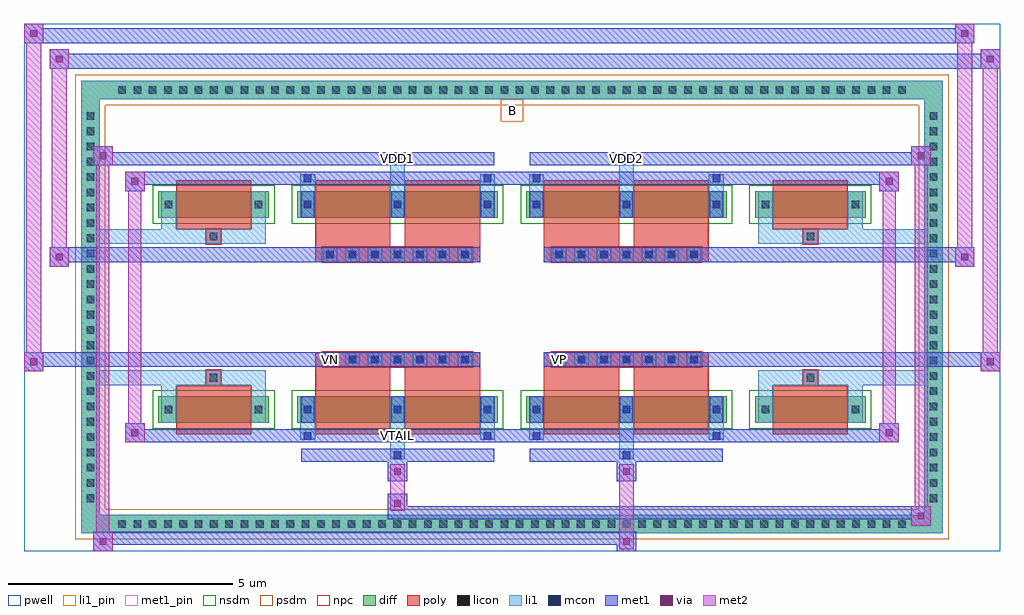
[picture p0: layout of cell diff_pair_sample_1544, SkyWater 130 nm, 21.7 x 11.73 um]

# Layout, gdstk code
import gdstk
lib = gdstk.Library(unit=1e-6, precision=5e-09)
def R(c, l, rs):  # rectangles x0, y0, x1, y1
    for r in rs: c.add(gdstk.rectangle(r[:2], r[2:], *l))
def A(c, l, x, y, w, h, nx, ny, dx, dy):  # array of equal rectangles
    R(c, l, [(x+i*dx, y+j*dy, x+i*dx+w, y+j*dy+h) for i in range(nx) for j in range(ny)])
def P(c, l, *ps):  # polygons
    for p in ps: c.add(gdstk.Polygon(p, *l))
pwell = (64, 44)
diff = (65, 20)
poly = (66, 20)
licon = (66, 44)
li1_pin = (67, 16)
li1 = (67, 20)
mcon = (67, 44)
met1_pin = (68, 16)
met1 = (68, 20)
via = (68, 44)
met2 = (69, 20)
nsdm = (93, 44)
psdm = (94, 20)
npc = (95, 20)

diff_pair_sample_1544 = lib.new_cell('diff_pair_sample_1544')
R(diff_pair_sample_1544, pwell, [(-10.85,-5.43,10.85,6.3), (-8.17,-3.62,-0.01,-0.8), (0.01,-3.62,8.17,-0.8), (-8.17,0.8,-0.01,3.62), (0.01,0.8,8.17,3.62)])
A(diff_pair_sample_1544, diff, -8.875, -5.03, 0.41, 0.41, 52, 2, 0.34, 9.65)
A(diff_pair_sample_1544, diff, -9.58, -4.455, 0.41, 0.41, 1, 26, 0, 0.34)
A(diff_pair_sample_1544, diff, 9.17, -4.455, 0.41, 0.41, 1, 26, 0, 0.34)
R(diff_pair_sample_1544, diff, [(-8.875,-5.03,8.875,-4.62), (-9.58,-4.455,-9.17,4.455), (9.17,-4.455,9.58,4.455), (-7.86,-2.575,-5.41,-1.985), (-4.77,-2.575,-0.32,-1.985), (0.32,-2.575,4.77,-1.985), (5.41,-2.575,7.86,-1.985), (-7.86,1.985,-5.41,2.575), (-4.77,1.985,-0.32,2.575), (0.32,1.985,4.77,2.575), (5.41,1.985,7.86,2.575), (-8.875,4.62,8.875,5.03)])
P(diff_pair_sample_1544, diff, [(9.58,5.03),(-9.58,5.03),(-9.58,-4.62),(-9.17,-4.62),(-9.17,4.62),(9.17,4.62),(9.17,-4.62),(-9.17,-4.62),(-9.58,-4.62),(-9.58,-5.03),(9.58,-5.03)])
A(diff_pair_sample_1544, poly, -4.21, -1.33, 0.33, 0.33, 7, 2, 0.5, 2.33)
A(diff_pair_sample_1544, poly, 0.88, -1.33, 0.33, 0.33, 7, 2, 0.5, 2.33)
R(diff_pair_sample_1544, poly, [(-7.47,-2.825,-5.8,-1.735), (-4.38,-2.825,-2.71,-1.735), (-2.38,-2.825,-0.71,-1.735), (0.71,-2.825,2.38,-1.735), (2.71,-2.825,4.38,-1.735), (5.8,-2.825,7.47,-1.735), (-6.8,-1.735,-6.47,-1.405), (-6.8,-1.735,-6.47,-1.405), (-4.38,-1.735,-2.71,-1.33), (-2.38,-1.735,-0.71,-1.33), (0.71,-1.735,2.38,-1.33), (2.71,-1.735,4.38,-1.33), (6.47,-1.735,6.8,-1.405), (6.47,-1.735,6.8,-1.405), (-4.38,-1.33,-0.71,-1), (0.71,-1.33,4.38,-1), (-4.38,1,-0.71,1.33), (0.71,1,4.38,1.33), (-4.38,1.33,-2.71,1.735), (-2.38,1.33,-0.71,1.735), (0.71,1.33,2.38,1.735), (2.71,1.33,4.38,1.735), (-6.8,1.405,-6.47,1.735), (-6.8,1.405,-6.47,1.735), (6.47,1.405,6.8,1.735), (6.47,1.405,6.8,1.735), (-7.47,1.735,-5.8,2.825), (-4.38,1.735,-2.71,2.825), (-2.38,1.735,-0.71,2.825), (0.71,1.735,2.38,2.825), (2.71,1.735,4.38,2.825), (5.8,1.735,7.47,2.825)])
A(diff_pair_sample_1544, licon, -8.755, -4.91, 0.17, 0.17, 52, 2, 0.34, 9.65)
A(diff_pair_sample_1544, licon, -9.46, -4.335, 0.17, 0.17, 1, 26, 0, 0.34)
A(diff_pair_sample_1544, licon, 9.29, -4.335, 0.17, 0.17, 1, 26, 0, 0.34)
A(diff_pair_sample_1544, licon, -4.63, -2.365, 0.17, 0.17, 3, 2, 2, 4.56)
A(diff_pair_sample_1544, licon, 0.46, -2.365, 0.17, 0.17, 3, 2, 2, 4.56)
A(diff_pair_sample_1544, licon, -4.13, -1.25, 0.17, 0.17, 7, 2, 0.5, 2.33)
A(diff_pair_sample_1544, licon, 0.96, -1.25, 0.17, 0.17, 7, 2, 0.5, 2.33)
R(diff_pair_sample_1544, licon, [(-7.72,-2.365,-7.55,-2.195), (-5.72,-2.365,-5.55,-2.195), (5.55,-2.365,5.72,-2.195), (7.55,-2.365,7.72,-2.195), (-6.72,-1.655,-6.55,-1.485), (6.55,-1.655,6.72,-1.485), (-6.72,1.485,-6.55,1.655), (6.55,1.485,6.72,1.655), (-7.72,2.195,-7.55,2.365), (-5.72,2.195,-5.55,2.365), (5.55,2.195,5.72,2.365), (7.55,2.195,7.72,2.365)])
R(diff_pair_sample_1544, li1_pin, [(-0.25,4.12,0.25,4.62)])
A(diff_pair_sample_1544, li1, -8.835, -4.99, 0.33, 0.33, 52, 2, 0.34, 9.65)
A(diff_pair_sample_1544, li1, -9.54, -4.415, 0.33, 0.33, 1, 26, 0, 0.34)
A(diff_pair_sample_1544, li1, 9.21, -4.415, 0.33, 0.33, 1, 26, 0, 0.34)
A(diff_pair_sample_1544, li1, -4.71, -2.575, 0.33, 0.59, 3, 2, 2, 4.56)
A(diff_pair_sample_1544, li1, 0.38, -2.575, 0.33, 0.59, 3, 2, 2, 4.56)
A(diff_pair_sample_1544, li1, -4.71, -2.445, 0.33, 0.33, 3, 2, 2, 4.56)
A(diff_pair_sample_1544, li1, 0.38, -2.445, 0.33, 0.33, 3, 2, 2, 4.56)
A(diff_pair_sample_1544, li1, -4.21, -1.33, 0.33, 0.33, 7, 2, 0.5, 2.33)
A(diff_pair_sample_1544, li1, 0.88, -1.33, 0.33, 0.33, 7, 2, 0.5, 2.33)
R(diff_pair_sample_1544, li1, [(-9.58,-5.03,-9.17,-4.62), (-9.58,-5.03,-9.17,-4.62), (-9.17,-5.03,9.17,-4.62), (9.17,-5.03,9.58,-4.62), (9.17,-5.03,9.58,-4.62), (-9.58,-4.62,-9.17,4.62), (9.17,-4.62,9.58,4.62), (-2.71,-3.38,-2.38,-2.575), (-2.63,-3.38,-2.46,-3.21), (2.38,-3.38,2.71,-2.575), (2.46,-3.38,2.63,-3.21), (-4.71,-2.95,-4.38,-2.575), (-4.63,-2.95,-4.46,-2.78), (-0.71,-2.95,-0.38,-2.575), (-0.63,-2.95,-0.46,-2.78), (0.38,-2.95,0.71,-2.575), (0.46,-2.95,0.63,-2.78), (4.38,-2.95,4.71,-2.575), (4.46,-2.95,4.63,-2.78), (-7.8,-2.575,-7.47,-1.985), (-5.8,-2.575,-5.47,-1.985), (5.47,-2.575,5.8,-1.985), (7.47,-2.575,7.8,-1.985), (-7.8,-2.445,-7.47,-2.115), (-5.8,-2.445,-5.47,-2.115), (5.47,-2.445,5.8,-2.115), (7.47,-2.445,7.8,-2.115), (-4.63,-2.365,-4.46,-2.195), (-4.63,-2.365,-4.46,-2.195), (-2.63,-2.365,-2.46,-2.195), (-2.63,-2.365,-2.46,-2.195), (-0.63,-2.365,-0.46,-2.195), (-0.63,-2.365,-0.46,-2.195), (0.46,-2.365,0.63,-2.195), (0.46,-2.365,0.63,-2.195), (2.46,-2.365,2.63,-2.195), (2.46,-2.365,2.63,-2.195), (4.46,-2.365,4.63,-2.195), (4.46,-2.365,4.63,-2.195), (-7.8,-1.985,-7.47,-1.405), (-5.8,-1.985,-5.47,-1.405), (5.47,-1.985,5.8,-1.405), (7.47,-1.985,7.8,-1.405), (-9.58,-1.735,-6.8,-1.405), (-7.8,-1.735,-6.8,-1.405), (-6.8,-1.735,-6.47,-1.405), (-6.47,-1.735,-5.47,-1.405), (5.47,-1.735,6.47,-1.405), (6.47,-1.735,6.8,-1.405), (6.47,-1.735,9.58,-1.405), (6.8,-1.735,7.8,-1.405), (-9.58,1.405,-6.8,1.735), (-7.8,1.405,-6.8,1.735), (-7.8,1.405,-7.47,1.985), (-6.8,1.405,-6.47,1.735), (-6.47,1.405,-5.47,1.735), (-5.8,1.405,-5.47,1.985), (5.47,1.405,6.47,1.735), (5.47,1.405,5.8,1.985), (6.47,1.405,6.8,1.735), (6.47,1.405,9.58,1.735), (6.8,1.405,7.8,1.735), (7.47,1.405,7.8,1.985), (-7.8,1.985,-7.47,2.575), (-5.8,1.985,-5.47,2.575), (5.47,1.985,5.8,2.575), (7.47,1.985,7.8,2.575), (-7.8,2.115,-7.47,2.445), (-5.8,2.115,-5.47,2.445), (5.47,2.115,5.8,2.445), (7.47,2.115,7.8,2.445), (-4.63,2.195,-4.46,2.365), (-4.63,2.195,-4.46,2.365), (-2.63,2.195,-2.46,2.365), (-2.63,2.195,-2.46,2.365), (-0.63,2.195,-0.46,2.365), (-0.63,2.195,-0.46,2.365), (0.46,2.195,0.63,2.365), (0.46,2.195,0.63,2.365), (2.46,2.195,2.63,2.365), (2.46,2.195,2.63,2.365), (4.46,2.195,4.63,2.365), (4.46,2.195,4.63,2.365), (-4.71,2.575,-4.38,2.95), (-2.71,2.575,-2.38,3.38), (-0.71,2.575,-0.38,2.95), (0.38,2.575,0.71,2.95), (2.38,2.575,2.71,3.38), (4.38,2.575,4.71,2.95), (-4.63,2.78,-4.46,2.95), (-0.63,2.78,-0.46,2.95), (0.46,2.78,0.63,2.95), (4.46,2.78,4.63,2.95), (-2.63,3.21,-2.46,3.38), (2.46,3.21,2.63,3.38), (-9.58,4.62,-9.17,5.03), (-9.58,4.62,-9.17,5.03), (-9.17,4.62,9.17,5.03), (9.17,4.62,9.58,5.03), (9.17,4.62,9.58,5.03)])
A(diff_pair_sample_1544, mcon, -4.63, -2.365, 0.17, 0.17, 3, 2, 2, 4.56)
A(diff_pair_sample_1544, mcon, 0.46, -2.365, 0.17, 0.17, 3, 2, 2, 4.56)
A(diff_pair_sample_1544, mcon, -4.13, -1.25, 0.17, 0.17, 7, 2, 0.5, 2.33)
A(diff_pair_sample_1544, mcon, 0.96, -1.25, 0.17, 0.17, 7, 2, 0.5, 2.33)
R(diff_pair_sample_1544, mcon, [(-2.63,-3.38,-2.46,-3.21), (2.46,-3.38,2.63,-3.21), (-4.63,-2.95,-4.46,-2.78), (-0.63,-2.95,-0.46,-2.78), (0.46,-2.95,0.63,-2.78), (4.46,-2.95,4.63,-2.78), (-4.63,2.78,-4.46,2.95), (-0.63,2.78,-0.46,2.95), (0.46,2.78,0.63,2.95), (4.46,2.78,4.63,2.95), (-2.63,3.21,-2.46,3.38), (2.46,3.21,2.63,3.38)])
R(diff_pair_sample_1544, met1_pin, [(-2.68,-2.99,-2.41,-2.72), (-4.18,-1.29,-3.91,-1.02), (0.91,-1.29,1.18,-1.02), (-2.68,3.17,-2.41,3.44), (2.41,3.17,2.68,3.44)])
A(diff_pair_sample_1544, met1, -4.69, -2.575, 0.29, 0.59, 3, 2, 2, 4.56)
A(diff_pair_sample_1544, met1, 0.4, -2.575, 0.29, 0.59, 3, 2, 2, 4.56)
A(diff_pair_sample_1544, met1, -4.69, -2.425, 0.29, 0.29, 3, 2, 2, 4.56)
A(diff_pair_sample_1544, met1, 0.4, -2.425, 0.29, 0.29, 3, 2, 2, 4.56)
A(diff_pair_sample_1544, met1, -4.19, -1.31, 0.29, 0.29, 7, 2, 0.5, 2.33)
A(diff_pair_sample_1544, met1, 0.9, -1.31, 0.29, 0.29, 7, 2, 0.5, 2.33)
R(diff_pair_sample_1544, met1, [(-9.31,-5.43,-8.88,-5), (2.33,-5.43,2.76,-5), (-9.31,-5.29,2.76,-5), (8.88,-4.86,9.31,-4.43), (-2.76,-4.72,9.31,-4.43), (-2.76,-4.58,-2.33,-4.15), (-2.76,-3.87,-2.33,-3.44), (2.33,-3.87,2.76,-3.44), (-4.69,-3.44,-0.4,-3.15), (-2.69,-3.44,-2.4,-3.15), (0.4,-3.44,4.69,-3.15), (2.4,-3.44,2.69,-3.15), (-8.6,-3.01,-8.17,-2.58), (-8.6,-3.01,-4.69,-2.72), (-4.69,-3.01,-4.4,-2.72), (-4.69,-3.01,-0.4,-2.72), (-0.69,-3.01,-0.4,-2.72), (-0.4,-3.01,0.4,-2.72), (0.4,-3.01,0.69,-2.72), (0.4,-3.01,4.69,-2.72), (4.4,-3.01,4.69,-2.72), (4.69,-3.01,8.6,-2.72), (8.17,-3.01,8.6,-2.58), (-10.85,-1.43,-10.42,-1), (10.42,-1.43,10.85,-1), (-10.85,-1.33,-0.71,-1), (-4.38,-1.33,-0.71,-1), (0.71,-1.33,4.38,-1), (0.71,-1.33,10.85,-1), (-10.28,0.9,-9.85,1.33), (9.85,0.9,10.28,1.33), (-10.28,1,-4.38,1.33), (-4.38,1,-0.71,1.33), (0.71,1,4.38,1.33), (4.38,1,10.28,1.33), (-8.6,2.58,-8.17,3.01), (8.17,2.58,8.6,3.01), (-8.6,2.72,-4.69,3.01), (-4.69,2.72,-4.4,3.01), (-4.69,2.72,-0.4,3.01), (-0.69,2.72,-0.4,3.01), (-0.4,2.72,0.4,3.01), (0.4,2.72,0.69,3.01), (0.4,2.72,4.69,3.01), (4.4,2.72,4.69,3.01), (4.69,2.72,8.6,3.01), (-9.31,3.15,-8.88,3.58), (-9.31,3.15,-4.69,3.44), (-4.69,3.15,-0.4,3.44), (-2.69,3.15,-2.4,3.44), (0.4,3.15,4.69,3.44), (2.4,3.15,2.69,3.44), (4.69,3.15,9.31,3.44), (8.88,3.15,9.31,3.58), (-10.28,5.3,-9.85,5.73), (-10.28,5.3,-8.17,5.63), (-8.17,5.3,8.17,5.63), (8.17,5.3,10.85,5.63), (10.42,5.3,10.85,5.73), (-10.85,5.87,-10.42,6.3), (-10.85,5.87,-8.17,6.2), (-8.17,5.87,8.17,6.2), (8.17,5.87,10.28,6.2), (9.85,5.87,10.28,6.3)])
R(diff_pair_sample_1544, via, [(-9.17,-5.29,-9.02,-5.14), (2.47,-5.29,2.62,-5.14), (9.02,-4.72,9.17,-4.57), (-2.62,-4.44,-2.47,-4.29), (-2.62,-3.73,-2.47,-3.58), (2.47,-3.73,2.62,-3.58), (-8.46,-2.87,-8.31,-2.72), (8.31,-2.87,8.46,-2.72), (-10.71,-1.29,-10.56,-1.14), (10.56,-1.29,10.71,-1.14), (-10.14,1.04,-9.99,1.19), (9.99,1.04,10.14,1.19), (-8.46,2.72,-8.31,2.87), (8.31,2.72,8.46,2.87), (-9.17,3.29,-9.02,3.44), (9.02,3.29,9.17,3.44), (-10.14,5.44,-9.99,5.59), (10.56,5.44,10.71,5.59), (-10.71,6.01,-10.56,6.16), (9.99,6.01,10.14,6.16)])
R(diff_pair_sample_1544, met2, [(-9.31,-5.43,-8.88,-5), (-9.24,-5.43,-8.95,3.58), (-8.95,-5.43,-8.88,-5), (-9.26,-5.38,-8.93,-5.05), (2.38,-5.38,2.71,-5.05), (2.38,-5.05,2.71,-3.82), (8.88,-4.86,9.31,-4.43), (8.95,-4.86,9.24,3.58), (9.24,-4.86,9.31,-4.43), (8.93,-4.81,9.26,-4.48), (-2.71,-4.53,-2.38,-4.2), (-2.71,-4.2,-2.38,-3.82), (-2.71,-3.82,-2.38,-3.49), (2.38,-3.82,2.71,-3.49), (-8.6,-3.01,-8.17,-2.58), (-8.53,-3.01,-8.24,3.01), (-8.24,-3.01,-8.17,-2.58), (8.17,-3.01,8.6,-2.58), (8.24,-3.01,8.53,3.01), (8.53,-3.01,8.6,-2.58), (-8.55,-2.96,-8.22,-2.63), (8.22,-2.96,8.55,-2.63), (-10.85,-1.43,-10.42,-1), (-10.8,-1.43,-10.47,6.3), (-10.47,-1.43,-10.42,-1), (10.42,-1.43,10.85,-1), (10.47,-1.43,10.8,5.73), (10.8,-1.43,10.85,-1), (-10.8,-1.38,-10.47,-1.05), (10.47,-1.38,10.8,-1.05), (-10.28,0.9,-9.85,1.33), (-10.23,0.9,-9.9,5.73), (-9.9,0.9,-9.85,1.33), (9.85,0.9,10.28,1.33), (9.9,0.9,10.23,6.3), (10.23,0.9,10.28,1.33), (-10.23,0.95,-9.9,1.28), (9.9,0.95,10.23,1.28), (-8.6,2.58,-8.17,3.01), (-8.24,2.58,-8.17,3.01), (8.17,2.58,8.6,3.01), (8.53,2.58,8.6,3.01), (-8.55,2.63,-8.22,2.96), (8.22,2.63,8.55,2.96), (-9.31,3.15,-8.88,3.58), (-8.95,3.15,-8.88,3.58), (8.88,3.15,9.31,3.58), (9.24,3.15,9.31,3.58), (-9.26,3.2,-8.93,3.53), (8.93,3.2,9.26,3.53), (-10.28,5.3,-9.85,5.73), (-9.9,5.3,-9.85,5.73), (10.42,5.3,10.85,5.73), (10.8,5.3,10.85,5.73), (-10.23,5.35,-9.9,5.68), (10.47,5.35,10.8,5.68), (-10.85,5.87,-10.42,6.3), (-10.47,5.87,-10.42,6.3), (9.85,5.87,10.28,6.3), (10.23,5.87,10.28,6.3), (-10.8,5.92,-10.47,6.25), (9.9,5.92,10.23,6.25)])
R(diff_pair_sample_1544, nsdm, [(-7.99,-2.705,-5.28,-1.855), (-4.9,-2.705,-0.19,-1.855), (0.19,-2.705,4.9,-1.855), (5.28,-2.705,7.99,-1.855), (-7.99,1.855,-5.28,2.705), (-4.9,1.855,-0.19,2.705), (0.19,1.855,4.9,2.705), (5.28,1.855,7.99,2.705)])
P(diff_pair_sample_1544, psdm, [(9.71,5.16),(-9.71,5.16),(-9.71,-4.49),(-9.04,-4.49),(-9.04,4.49),(9.04,4.49),(9.04,-4.49),(-9.04,-4.49),(-9.71,-4.49),(-9.71,-5.16),(9.71,-5.16)])
A(diff_pair_sample_1544, npc, -4.23, -1.35, 0.37, 0.37, 7, 2, 0.5, 2.33)
A(diff_pair_sample_1544, npc, 0.86, -1.35, 0.37, 0.37, 7, 2, 0.5, 2.33)
R(diff_pair_sample_1544, npc, [(-6.82,-1.755,-6.45,-1.385), (6.45,-1.755,6.82,-1.385), (-4.23,-1.35,-3.36,-0.98), (-4.23,-1.35,-3.36,-0.98), (-3.73,-1.35,-2.86,-0.98), (-3.73,-1.35,-2.86,-0.98), (-3.23,-1.35,-2.36,-0.98), (-3.23,-1.35,-2.36,-0.98), (-2.73,-1.35,-1.86,-0.98), (-2.73,-1.35,-1.86,-0.98), (-2.23,-1.35,-1.36,-0.98), (-2.23,-1.35,-1.36,-0.98), (-1.73,-1.35,-0.86,-0.98), (-1.73,-1.35,-0.86,-0.98), (0.86,-1.35,1.73,-0.98), (0.86,-1.35,1.73,-0.98), (1.36,-1.35,2.23,-0.98), (1.36,-1.35,2.23,-0.98), (1.86,-1.35,2.73,-0.98), (1.86,-1.35,2.73,-0.98), (2.36,-1.35,3.23,-0.98), (2.36,-1.35,3.23,-0.98), (2.86,-1.35,3.73,-0.98), (2.86,-1.35,3.73,-0.98), (3.36,-1.35,4.23,-0.98), (3.36,-1.35,4.23,-0.98), (-4.23,0.98,-3.36,1.35), (-4.23,0.98,-3.36,1.35), (-3.73,0.98,-2.86,1.35), (-3.73,0.98,-2.86,1.35), (-3.23,0.98,-2.36,1.35), (-3.23,0.98,-2.36,1.35), (-2.73,0.98,-1.86,1.35), (-2.73,0.98,-1.86,1.35), (-2.23,0.98,-1.36,1.35), (-2.23,0.98,-1.36,1.35), (-1.73,0.98,-0.86,1.35), (-1.73,0.98,-0.86,1.35), (0.86,0.98,1.73,1.35), (0.86,0.98,1.73,1.35), (1.36,0.98,2.23,1.35), (1.36,0.98,2.23,1.35), (1.86,0.98,2.73,1.35), (1.86,0.98,2.73,1.35), (2.36,0.98,3.23,1.35), (2.36,0.98,3.23,1.35), (2.86,0.98,3.73,1.35), (2.86,0.98,3.73,1.35), (3.36,0.98,4.23,1.35), (3.36,0.98,4.23,1.35), (-6.82,1.385,-6.45,1.755), (6.45,1.385,6.82,1.755)])
diff_pair_sample_1544.add(gdstk.Label('VTAIL', (-2.545,-2.855), layer=68, texttype=5))
diff_pair_sample_1544.add(gdstk.Label('VN', (-4.045,-1.155), layer=68, texttype=5))
diff_pair_sample_1544.add(gdstk.Label('VP', (1.045,-1.155), layer=68, texttype=5))
diff_pair_sample_1544.add(gdstk.Label('B', (0,4.37), layer=67, texttype=5))
diff_pair_sample_1544.add(gdstk.Label('VDD2', (2.545,3.305), layer=68, texttype=5))
diff_pair_sample_1544.add(gdstk.Label('VDD1', (-2.545,3.305), layer=68, texttype=5))

lib.write_gds('diff_pair_sample_1544.gds')
